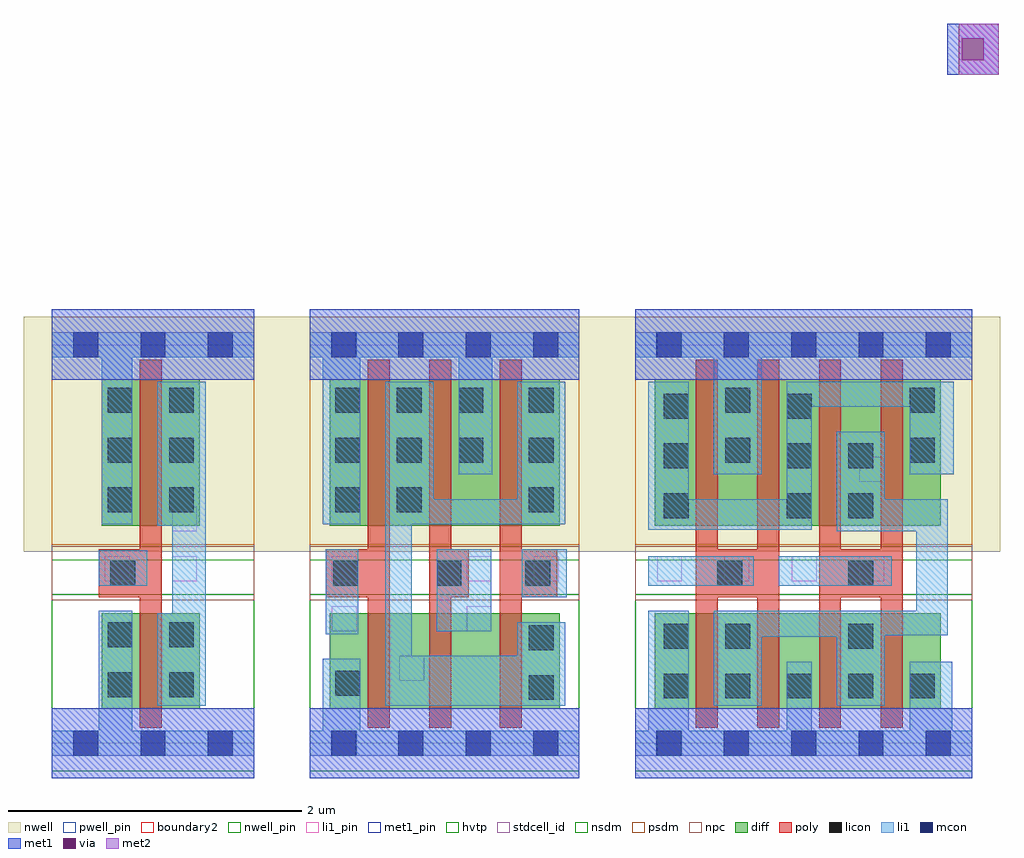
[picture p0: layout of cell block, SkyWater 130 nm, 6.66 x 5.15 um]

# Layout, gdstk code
import gdstk
lib = gdstk.Library(unit=1e-6, precision=1e-09)
def R(c, l, rs):  # rectangles x0, y0, x1, y1
    for r in rs: c.add(gdstk.rectangle(r[:2], r[2:], *l))
def A(c, l, x, y, w, h, nx, ny, dx, dy):  # array of equal rectangles
    R(c, l, [(x+i*dx, y+j*dy, x+i*dx+w, y+j*dy+h) for i in range(nx) for j in range(ny)])
def P(c, l, *ps):  # polygons
    for p in ps: c.add(gdstk.Polygon(p, *l))
nwell_pin = (64, 16)
nwell = (64, 20)
diff = (65, 20)
poly = (66, 20)
licon = (66, 44)
li1_pin = (67, 16)
li1 = (67, 20)
mcon = (67, 44)
met1_pin = (68, 16)
met1 = (68, 20)
via = (68, 44)
met2 = (69, 20)
hvtp = (78, 44)
stdcell_id = (81, 4)
nsdm = (93, 44)
psdm = (94, 20)
npc = (95, 20)
pwell_pin = (122, 16)
boundary2 = (236, 0)

sky130_fd_sc_hd__inv_1 = lib.new_cell('sky130_fd_sc_hd__inv_1')
R(sky130_fd_sc_hd__inv_1, nwell_pin, [(0.145,2.635,0.315,2.805), (0.145,2.635,0.315,2.805)])
R(sky130_fd_sc_hd__inv_1, nwell, [(-0.19,1.305,1.57,2.91)])
R(sky130_fd_sc_hd__inv_1, diff, [(0.34,0.235,1.01,0.885), (0.34,1.485,1.01,2.485)])
P(sky130_fd_sc_hd__inv_1, poly, [(0.6,0.105),(0.6,0.995),(0.32,0.995),(0.32,1.325),(0.6,1.325),(0.6,2.615),(0.75,2.615),(0.75,0.105)])
A(sky130_fd_sc_hd__inv_1, licon, 0.38, 1.575, 0.17, 0.17, 1, 3, 0, 0.34)
A(sky130_fd_sc_hd__inv_1, licon, 0.8, 1.575, 0.17, 0.17, 1, 3, 0, 0.34)
R(sky130_fd_sc_hd__inv_1, licon, [(0.38,0.315,0.55,0.485), (0.8,0.315,0.97,0.485), (0.38,0.655,0.55,0.825), (0.8,0.655,0.97,0.825), (0.4,1.075,0.57,1.245)])
R(sky130_fd_sc_hd__inv_1, li1_pin, [(0.36,1.105,0.53,1.275), (0.82,1.105,0.99,1.275), (0.82,1.445,0.99,1.615)])
R(sky130_fd_sc_hd__inv_1, li1, [(0,-0.085,1.38,0.085), (0.32,0.005,0.55,0.905), (0.32,1.075,0.65,1.315), (0.34,1.495,0.55,2.675), (0,2.635,1.38,2.805)])
P(sky130_fd_sc_hd__inv_1, li1, [(0.72,0.255),(0.72,0.885),(0.82,0.885),(0.82,1.485),(0.72,1.485),(0.72,2.465),(1.05,2.465),(1.05,0.255)])
A(sky130_fd_sc_hd__inv_1, mcon, 0.145, -0.085, 0.17, 0.17, 3, 2, 0.46, 2.72)
R(sky130_fd_sc_hd__inv_1, met1_pin, [(0.145,-0.085,0.315,0.085), (0.145,-0.085,0.315,0.085), (0.145,2.635,0.315,2.805), (0.145,2.635,0.315,2.805)])
R(sky130_fd_sc_hd__inv_1, hvtp, [(0,1.25,1.38,2.72)])
R(sky130_fd_sc_hd__inv_1, stdcell_id, [(0,0,1.38,2.72)])
R(sky130_fd_sc_hd__inv_1, nsdm, [(0,-0.19,1.38,1.015)])
R(sky130_fd_sc_hd__inv_1, psdm, [(0,1.355,1.38,2.91)])
R(sky130_fd_sc_hd__inv_1, npc, [(0,0.975,1.38,1.345)])
R(sky130_fd_sc_hd__inv_1, pwell_pin, [(0.145,-0.085,0.315,0.085), (0.145,-0.085,0.315,0.085)])
R(sky130_fd_sc_hd__inv_1, boundary2, [(0,0,1.38,2.72)])
sky130_fd_sc_hd__inv_1.add(gdstk.FlexPath([(0,2.72),(1.38,2.72)], 0.48, ends="flush", simple_path=True, layer=68, datatype=20))  # met1
sky130_fd_sc_hd__inv_1.add(gdstk.FlexPath([(0,0),(1.38,0)], 0.48, ends="flush", simple_path=True, layer=68, datatype=20))  # met1
sky130_fd_sc_hd__inv_1.add(gdstk.Label('Y', (0.905,1.53), layer=67, texttype=5))
sky130_fd_sc_hd__inv_1.add(gdstk.Label('Y', (0.905,1.19), layer=67, texttype=5))
sky130_fd_sc_hd__inv_1.add(gdstk.Label('A', (0.445,1.19), layer=67, texttype=5))
sky130_fd_sc_hd__inv_1.add(gdstk.Label('VPB', (0.23,2.72), layer=64, texttype=5))
sky130_fd_sc_hd__inv_1.add(gdstk.Label('VNB', (0.23,0), layer=64, texttype=59))
sky130_fd_sc_hd__inv_1.add(gdstk.Label('VGND', (0.23,0), layer=68, texttype=5))
sky130_fd_sc_hd__inv_1.add(gdstk.Label('VPWR', (0.23,2.72), layer=68, texttype=5))
sky130_fd_sc_hd__inv_1.add(gdstk.Label('inv_1', (0,0), layer=83, texttype=44))

sky130_fd_sc_hd__nand3_1 = lib.new_cell('sky130_fd_sc_hd__nand3_1')
R(sky130_fd_sc_hd__nand3_1, nwell_pin, [(0.15,2.635,0.32,2.805)])
R(sky130_fd_sc_hd__nand3_1, nwell, [(-0.19,1.305,2.03,2.91)])
R(sky130_fd_sc_hd__nand3_1, diff, [(0.135,0.235,1.705,0.885), (0.135,1.485,1.705,2.485)])
P(sky130_fd_sc_hd__nand3_1, poly, [(1.295,0.105),(1.295,2.615),(1.445,2.615),(1.445,1.325),(1.69,1.325),(1.69,0.995),(1.445,0.995),(1.445,0.105)],
  [(0.815,0.105),(0.815,2.615),(0.965,2.615),(0.965,1.325),(1.085,1.325),(1.085,0.995),(0.965,0.995),(0.965,0.105)],
  [(0.395,0.105),(0.395,0.995),(0.11,0.995),(0.11,1.325),(0.395,1.325),(0.395,2.615),(0.545,2.615),(0.545,0.105)])
A(sky130_fd_sc_hd__nand3_1, licon, 1.495, 1.575, 0.17, 0.17, 1, 3, 0, 0.34)
A(sky130_fd_sc_hd__nand3_1, licon, 0.175, 1.915, 0.17, 0.17, 3, 2, 0.42, 0.34)
R(sky130_fd_sc_hd__nand3_1, licon, [(1.495,0.295,1.665,0.465), (0.175,0.325,0.345,0.495), (1.495,0.635,1.665,0.805), (0.16,1.075,0.33,1.245), (0.865,1.075,1.035,1.245), (1.47,1.075,1.64,1.245), (0.175,1.575,0.345,1.745), (0.595,1.575,0.765,1.745)])
R(sky130_fd_sc_hd__nand3_1, li1_pin, [(0.61,0.425,0.78,0.595), (0.15,0.765,0.32,0.935), (1.07,0.765,1.24,0.935), (0.15,1.105,0.32,1.275), (1.07,1.105,1.24,1.275), (1.53,1.105,1.7,1.275)])
R(sky130_fd_sc_hd__nand3_1, li1, [(0.11,0.745,0.33,1.325), (0.865,0.765,1.24,1.325), (1.445,0.995,1.755,1.325)])
P(sky130_fd_sc_hd__nand3_1, li1, [(0.09,1.495),(0.09,2.635),(0,2.635),(0,2.805),(1.84,2.805),(1.84,2.635),(1.245,2.635),(1.245,1.835),(1.015,1.835),(1.015,2.635),(0.345,2.635),(0.345,1.495)],
  [(0,-0.085),(0,0.085),(0.09,0.085),(0.09,0.575),(0.345,0.575),(0.345,0.085),(1.84,0.085),(1.84,-0.085)],
  [(0.515,0.255),(0.515,2.465),(0.845,2.465),(0.845,1.665),(1.415,1.665),(1.415,2.465),(1.745,2.465),(1.745,1.495),(0.695,1.495),(0.695,0.595),(1.415,0.595),(1.415,0.825),(1.745,0.825),(1.745,0.255)])
A(sky130_fd_sc_hd__nand3_1, mcon, 0.145, -0.085, 0.17, 0.17, 4, 2, 0.46, 2.72)
R(sky130_fd_sc_hd__nand3_1, met1_pin, [(0.15,-0.085,0.32,0.085), (0.15,2.635,0.32,2.805)])
R(sky130_fd_sc_hd__nand3_1, hvtp, [(0,1.25,1.84,2.72)])
R(sky130_fd_sc_hd__nand3_1, stdcell_id, [(0,0,1.84,2.72)])
R(sky130_fd_sc_hd__nand3_1, nsdm, [(0,-0.19,1.84,1.015)])
R(sky130_fd_sc_hd__nand3_1, psdm, [(0,1.355,1.84,2.91)])
R(sky130_fd_sc_hd__nand3_1, npc, [(0,0.975,1.84,1.345)])
R(sky130_fd_sc_hd__nand3_1, pwell_pin, [(0.15,-0.085,0.32,0.085)])
R(sky130_fd_sc_hd__nand3_1, boundary2, [(0,0,1.84,2.72)])
sky130_fd_sc_hd__nand3_1.add(gdstk.FlexPath([(0,2.72),(1.84,2.72)], 0.48, ends="flush", simple_path=True, layer=68, datatype=20))  # met1
sky130_fd_sc_hd__nand3_1.add(gdstk.FlexPath([(0,0),(1.84,0)], 0.48, ends="flush", simple_path=True, layer=68, datatype=20))  # met1
sky130_fd_sc_hd__nand3_1.add(gdstk.Label('Y', (0.695,0.51), layer=67, texttype=5))
sky130_fd_sc_hd__nand3_1.add(gdstk.Label('A', (1.615,1.19), layer=67, texttype=5))
sky130_fd_sc_hd__nand3_1.add(gdstk.Label('C', (0.235,1.19), layer=67, texttype=5))
sky130_fd_sc_hd__nand3_1.add(gdstk.Label('B', (1.155,1.19), layer=67, texttype=5))
sky130_fd_sc_hd__nand3_1.add(gdstk.Label('VPB', (0.235,2.72), layer=64, texttype=5))
sky130_fd_sc_hd__nand3_1.add(gdstk.Label('VNB', (0.235,0), layer=64, texttype=59))
sky130_fd_sc_hd__nand3_1.add(gdstk.Label('VGND', (0.235,0), layer=68, texttype=5))
sky130_fd_sc_hd__nand3_1.add(gdstk.Label('VPWR', (0.235,2.72), layer=68, texttype=5))
sky130_fd_sc_hd__nand3_1.add(gdstk.Label('nand3_1', (0,0), layer=83, texttype=44))

sky130_fd_sc_hd__nor2_2 = lib.new_cell('sky130_fd_sc_hd__nor2_2')
R(sky130_fd_sc_hd__nor2_2, nwell_pin, [(0.15,2.635,0.32,2.805)])
R(sky130_fd_sc_hd__nor2_2, nwell, [(-0.19,1.305,2.49,2.91)])
R(sky130_fd_sc_hd__nor2_2, diff, [(0.135,0.235,2.085,0.885), (0.135,1.485,2.085,2.485)])
P(sky130_fd_sc_hd__nor2_2, poly, [(0.415,0.105),(0.415,2.615),(0.565,2.615),(0.565,1.325),(0.835,1.325),(0.835,2.615),(0.985,2.615),(0.985,0.105),(0.835,0.105),(0.835,0.995),(0.565,0.995),(0.565,0.105)],
  [(1.255,0.105),(1.255,2.615),(1.405,2.615),(1.405,1.325),(1.675,1.325),(1.675,2.615),(1.825,2.615),(1.825,0.105),(1.675,0.105),(1.675,0.995),(1.405,0.995),(1.405,0.105)])
A(sky130_fd_sc_hd__nor2_2, licon, 0.195, 0.305, 0.17, 0.17, 5, 1, 0.42, 0)
A(sky130_fd_sc_hd__nor2_2, licon, 0.195, 1.535, 0.17, 0.17, 1, 3, 0, 0.34)
A(sky130_fd_sc_hd__nor2_2, licon, 1.035, 1.535, 0.17, 0.17, 1, 3, 0, 0.34)
R(sky130_fd_sc_hd__nor2_2, licon, [(0.195,0.645,0.365,0.815), (0.615,0.645,0.785,0.815), (1.455,0.645,1.625,0.815), (0.56,1.075,0.73,1.245), (1.455,1.075,1.625,1.245), (1.455,1.535,1.625,1.705), (1.455,1.875,1.625,2.045), (0.615,1.915,0.785,2.085), (1.875,1.915,2.045,2.085), (0.615,2.255,0.785,2.425), (1.875,2.255,2.045,2.425)])
A(sky130_fd_sc_hd__nor2_2, li1_pin, 0.15, 1.105, 0.17, 0.17, 4, 1, 0.46, 0)
R(sky130_fd_sc_hd__nor2_2, li1_pin, [(1.53,1.785,1.7,1.955)])
R(sky130_fd_sc_hd__nor2_2, li1, [(0.09,1.075,0.81,1.275), (0.98,1.075,1.75,1.275)])
P(sky130_fd_sc_hd__nor2_2, li1, [(0,-0.085),(0,0.085),(0.09,0.085),(0.09,0.905),(0.365,0.905),(0.365,0.085),(1.035,0.085),(1.035,0.555),(1.205,0.555),(1.205,0.085),(1.875,0.085),(1.875,0.555),(2.165,0.555),(2.165,0.085),(2.3,0.085),(2.3,-0.085)],
  [(0.535,1.835),(0.535,2.635),(0,2.635),(0,2.805),(2.3,2.805),(2.3,2.635),(0.865,2.635),(0.865,1.835)],
  [(0.535,0.255),(0.535,0.905),(1.92,0.905),(1.92,1.445),(1.375,1.445),(1.375,2.125),(1.705,2.125),(1.705,1.665),(2.135,1.665),(2.135,0.735),(1.705,0.735),(1.705,0.255),(1.375,0.255),(1.375,0.725),(0.865,0.725),(0.865,0.255)],
  [(0.09,1.455),(0.09,2.465),(0.365,2.465),(0.365,1.665),(1.035,1.665),(1.035,2.465),(2.175,2.465),(2.175,1.835),(1.875,1.835),(1.875,2.295),(1.205,2.295),(1.205,1.455)])
A(sky130_fd_sc_hd__nor2_2, mcon, 0.145, -0.085, 0.17, 0.17, 5, 2, 0.46, 2.72)
R(sky130_fd_sc_hd__nor2_2, met1_pin, [(0.15,-0.085,0.32,0.085), (0.15,2.635,0.32,2.805)])
R(sky130_fd_sc_hd__nor2_2, hvtp, [(0,1.25,2.3,2.72)])
R(sky130_fd_sc_hd__nor2_2, stdcell_id, [(0,0,2.3,2.72)])
R(sky130_fd_sc_hd__nor2_2, nsdm, [(0,-0.19,2.3,1.015)])
R(sky130_fd_sc_hd__nor2_2, psdm, [(0,1.355,2.3,2.91)])
R(sky130_fd_sc_hd__nor2_2, npc, [(0,0.975,2.3,1.345)])
R(sky130_fd_sc_hd__nor2_2, pwell_pin, [(0.15,-0.085,0.32,0.085)])
R(sky130_fd_sc_hd__nor2_2, boundary2, [(0,0,2.3,2.72)])
sky130_fd_sc_hd__nor2_2.add(gdstk.FlexPath([(0,2.72),(2.3,2.72)], 0.48, ends="flush", simple_path=True, layer=68, datatype=20))  # met1
sky130_fd_sc_hd__nor2_2.add(gdstk.FlexPath([(0,0),(2.3,0)], 0.48, ends="flush", simple_path=True, layer=68, datatype=20))  # met1
sky130_fd_sc_hd__nor2_2.add(gdstk.Label('B', (1.155,1.19), layer=67, texttype=5))
sky130_fd_sc_hd__nor2_2.add(gdstk.Label('Y', (1.615,1.87), layer=67, texttype=5))
sky130_fd_sc_hd__nor2_2.add(gdstk.Label('A', (0.235,1.19), layer=67, texttype=5))
sky130_fd_sc_hd__nor2_2.add(gdstk.Label('VPB', (0.235,2.72), layer=64, texttype=5))
sky130_fd_sc_hd__nor2_2.add(gdstk.Label('VNB', (0.235,0), layer=64, texttype=59))
sky130_fd_sc_hd__nor2_2.add(gdstk.Label('VGND', (0.235,0), layer=68, texttype=5))
sky130_fd_sc_hd__nor2_2.add(gdstk.Label('VPWR', (0.235,2.72), layer=68, texttype=5))
sky130_fd_sc_hd__nor2_2.add(gdstk.Label('nor2_2', (0,0), layer=83, texttype=44))

block = lib.new_cell('block')
R(block, met1, [(6.11,4.56,6.46,4.91)])
R(block, via, [(6.21,4.66,6.36,4.81)])
R(block, met2, [(6.19,4.56,6.46,4.91)])
block.add(gdstk.Reference(sky130_fd_sc_hd__inv_1, (0,0)))
block.add(gdstk.Reference(sky130_fd_sc_hd__nand3_1, (1.76,0)))
block.add(gdstk.Reference(sky130_fd_sc_hd__nor2_2, (3.98,0)))

lib.write_gds('block.gds')
